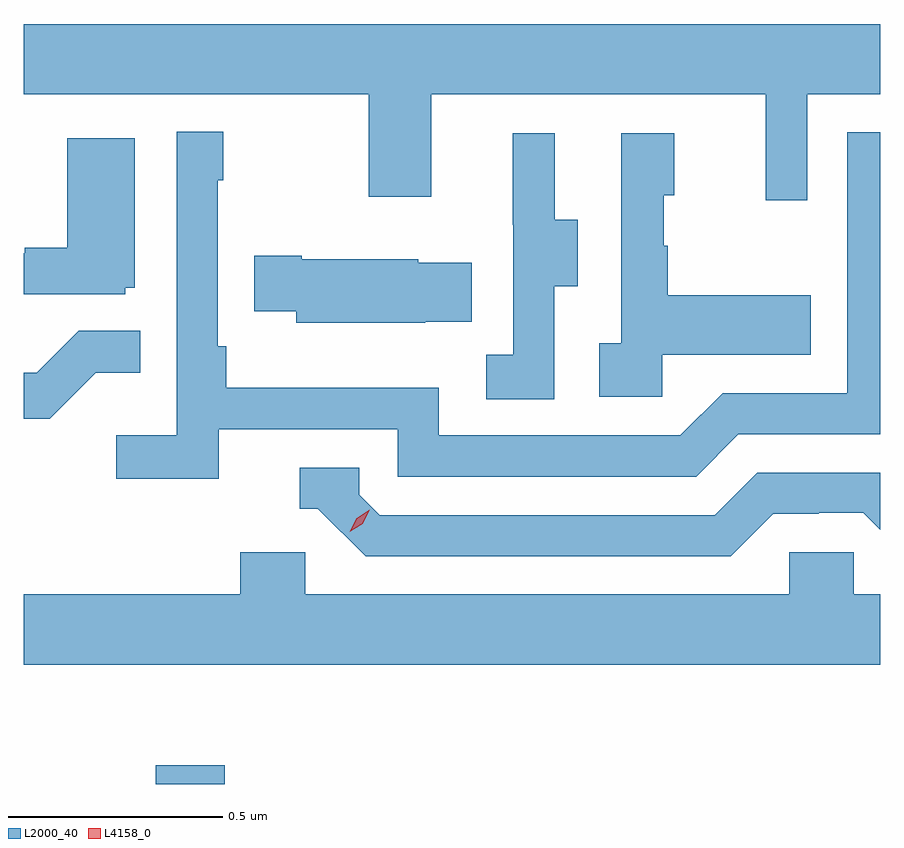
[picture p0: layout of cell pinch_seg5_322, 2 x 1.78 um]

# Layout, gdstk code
import gdstk
lib = gdstk.Library(unit=1e-6, precision=1e-09)
def R(c, l, rs):  # rectangles x0, y0, x1, y1
    for r in rs: c.add(gdstk.rectangle(r[:2], r[2:], *l))
def P(c, l, *ps):  # polygons
    for p in ps: c.add(gdstk.Polygon(p, *l))
L2000_40 = (2000, 40)
L4158_0 = (4158, 0)

pinch_seg5_322 = lib.new_cell('pinch_seg5_322')
R(pinch_seg5_322, L2000_40, [(927.011,873.797,927.172,873.841)])
P(pinch_seg5_322, L2000_40, [(928.533,875.408),(928.703,875.408),(928.703,875.572),(926.703,875.572),(926.703,875.408),(927.508,875.408),(927.508,875.169),(927.655,875.169),(927.655,875.408),(928.436,875.408),(928.436,875.16),(928.533,875.16)],
  [(927.158,874.626),(927.576,874.626),(927.576,874.515),(928.273,874.515),(928.372,874.614),(928.703,874.614),(928.703,875.319),(928.626,875.319),(928.626,874.71),(928.335,874.71),(928.236,874.611),(927.672,874.611),(927.672,874.723),(927.176,874.723),(927.176,874.819),(927.156,874.819),(927.156,875.207),(927.169,875.207),(927.169,875.32),(927.06,875.32),(927.06,874.612),(926.919,874.612),(926.919,874.51),(927.158,874.51)],
  [(927.942,874.96),(927.997,874.96),(927.997,875.115),(927.943,875.115),(927.943,875.317),(927.845,875.317),(927.845,875.103),(927.846,875.103),(927.846,874.799),(927.783,874.799),(927.783,874.696),(927.942,874.696)],
  [(928.194,874.799),(928.541,874.799),(928.541,874.939),(928.207,874.939),(928.207,875.054),(928.197,875.054),(928.197,875.172),(928.222,875.172),(928.222,875.317),(928.098,875.317),(928.098,874.826),(928.047,874.826),(928.047,874.701),(928.194,874.701)],
  [(926.94,874.956),(926.962,874.956),(926.962,875.305),(926.804,875.305),(926.804,875.05),(926.705,875.05),(926.705,875.037),(926.703,875.037),(926.703,874.941),(926.94,874.941)],
  [(927.641,874.877),(927.749,874.877),(927.749,875.014),(927.624,875.014),(927.624,875.023),(927.352,875.023),(927.352,875.031),(927.241,875.031),(927.241,874.901),(927.339,874.901),(927.339,874.874),(927.641,874.874)],
  [(926.871,874.757),(926.975,874.757),(926.975,874.856),(926.831,874.856),(926.733,874.758),(926.703,874.758),(926.703,874.65),(926.764,874.65)],
  [(928.453,874.428),(928.56,874.428),(928.56,874.431),(928.663,874.431),(928.703,874.391),(928.703,874.524),(928.416,874.524),(928.317,874.425),(927.534,874.425),(927.486,874.473),(927.486,874.536),(927.347,874.536),(927.347,874.44),(927.39,874.44),(927.501,874.329),(928.354,874.329)],
  [(928.703,874.24),(928.641,874.24),(928.641,874.338),(928.491,874.338),(928.491,874.24),(927.36,874.24),(927.36,874.338),(927.209,874.338),(927.209,874.24),(926.703,874.24),(926.703,874.076),(928.703,874.076)])
P(pinch_seg5_322, L4158_0, [(927.464,874.386),(927.464,874.386),(927.48,874.418),(927.511,874.438),(927.511,874.438),(927.511,874.437),(927.495,874.405),(927.464,874.386)])

lib.write_gds('pinch_seg5_322.gds')
